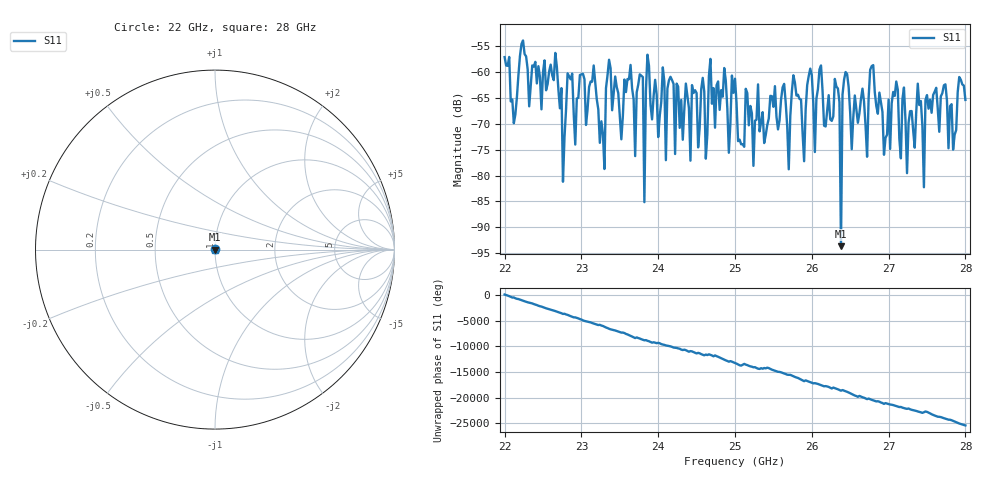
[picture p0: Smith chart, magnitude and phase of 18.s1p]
#  HZ  S  RI  R  50.00
! Rohde & Schwarz ZVA40 4Ports - Version 3.90 - 1145.1110k42 SN: 100403
! Date: 2023-10-04 09:33:55
! Measurement: S12
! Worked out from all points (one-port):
!   301 points, 22 GHz to 28 GHz, reference 50 ohm
!   lowest |S11| = -93.6 dB at 26.38 GHz (marker M1), VSWR 1.00, Z = 50 + j0.00208 ohm
!   |S11| at or under -10 dB: start of sweep to end of sweep
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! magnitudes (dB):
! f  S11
! 22 GHz  -57.1
! 22.66 GHz  -56.3
! 22.76 GHz  -81.2
! 22.82 GHz  -60.3
! 23.5 GHz  -68.5
! 23.8 GHz  -61.0
! 23.82 GHz  -85.1
! 23.86 GHz  -56.7
! 24.26 GHz  -62.9
! 24.42 GHz  -77.1
! 24.58 GHz  -61.1
! 24.62 GHz  -76.8
! 24.68 GHz  -57.5
! 24.92 GHz  -75.6
! 25 GHz  -61.3
! 25.24 GHz  -78.1
! 25.64 GHz  -62.3
! 25.7 GHz  -78.8
! 25.76 GHz  -60.6
! 25.9 GHz  -77.2
! 25.98 GHz  -59.4
! 26.04 GHz  -75.5
! 26.3 GHz  -61.3
! 26.38 GHz  -93.6
! 26.42 GHz  -61.5
! 26.5 GHz  -68.0
! 27.26 GHz  -69.8
! 28 GHz  -65.4
